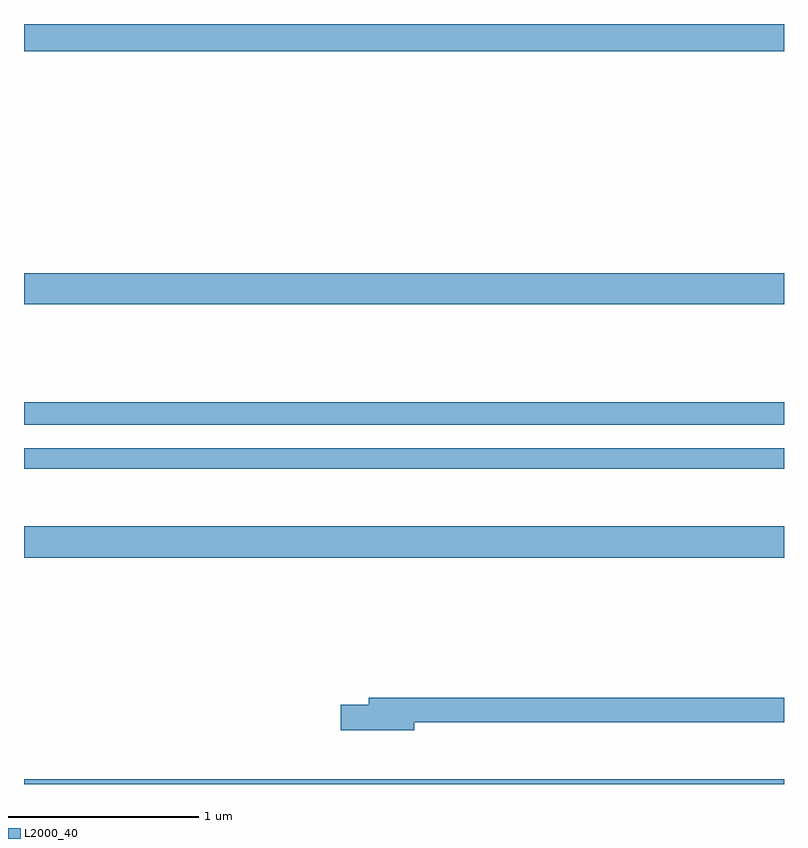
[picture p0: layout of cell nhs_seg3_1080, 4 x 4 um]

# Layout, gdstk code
import gdstk
lib = gdstk.Library(unit=1e-6, precision=1e-09)
def R(c, l, rs):  # rectangles x0, y0, x1, y1
    for r in rs: c.add(gdstk.rectangle(r[:2], r[2:], *l))
def P(c, l, *ps):  # polygons
    for p in ps: c.add(gdstk.Polygon(p, *l))
L2000_40 = (2000, 40)

nhs_seg3_1080 = lib.new_cell('nhs_seg3_1080')
R(nhs_seg3_1080, L2000_40, [(167,690.4,171,690.424), (167,691.592,171,691.756), (167,692.058,171,692.166), (167,692.292,171,692.408), (167,692.924,171,693.088), (167,694.256,171,694.4)])
P(nhs_seg3_1080, L2000_40, [(169.054,690.726),(171,690.726),(171,690.854),(168.815,690.854),(168.815,690.818),(168.666,690.818),(168.666,690.683),(169.054,690.683)])

lib.write_gds('nhs_seg3_1080.gds')
